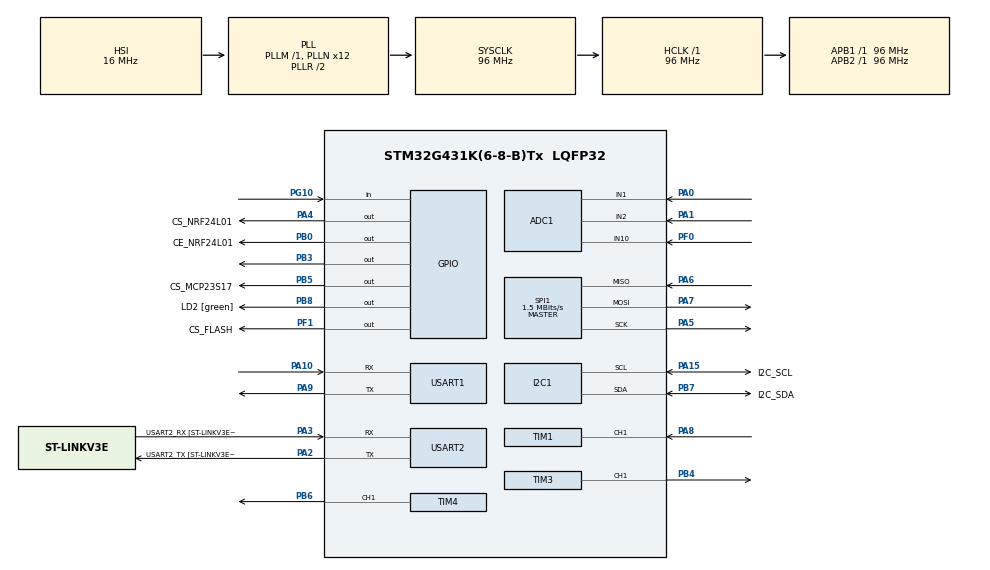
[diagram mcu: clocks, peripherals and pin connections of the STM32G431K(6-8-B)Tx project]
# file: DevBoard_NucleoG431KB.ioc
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ADC1.Channel-0\#ChannelRegularConversion=ADC_CHANNEL_1
ADC1.Channel-1\#ChannelRegularConversion=ADC_CHANNEL_2
ADC1.Channel-2\#ChannelRegularConversion=ADC_CHANNEL_10
ADC1.Channel-3\#ChannelRegularConversion=ADC_CHANNEL_TEMPSENSOR_ADC1
ADC1.Channel-4\#ChannelRegularConversion=ADC_CHANNEL_VBAT
ADC1.Channel-5\#ChannelRegularConversion=ADC_CHANNEL_VREFINT
ADC1.ClockPrescaler=ADC_CLOCK_SYNC_PCLK_DIV4
ADC1.ContinuousConvMode=DISABLE
ADC1.DMAContinuousRequests=DISABLE
ADC1.EOCSelection=ADC_EOC_SEQ_CONV
ADC1.ExternalTrigConv=ADC_SOFTWARE_START
ADC1.NbrOfConversion=6
ADC1.NbrOfConversionFlag=1
ADC1.OffsetNumber-0\#ChannelRegularConversion=ADC_OFFSET_NONE
ADC1.OffsetNumber-1\#ChannelRegularConversion=ADC_OFFSET_NONE
ADC1.OffsetNumber-2\#ChannelRegularConversion=ADC_OFFSET_NONE
ADC1.OffsetNumber-3\#ChannelRegularConversion=ADC_OFFSET_NONE
ADC1.OffsetNumber-4\#ChannelRegularConversion=ADC_OFFSET_NONE
ADC1.OffsetNumber-5\#ChannelRegularConversion=ADC_OFFSET_NONE
ADC1.Overrun=ADC_OVR_DATA_OVERWRITTEN
ADC1.Rank-0\#ChannelRegularConversion=1
ADC1.Rank-1\#ChannelRegularConversion=2
ADC1.Rank-2\#ChannelRegularConversion=3
ADC1.Rank-3\#ChannelRegularConversion=4
ADC1.Rank-4\#ChannelRegularConversion=5
ADC1.Rank-5\#ChannelRegularConversion=6
ADC1.SamplingTime-0\#ChannelRegularConversion=ADC_SAMPLETIME_12CYCLES_5
ADC1.SamplingTime-1\#ChannelRegularConversion=ADC_SAMPLETIME_12CYCLES_5
ADC1.SamplingTime-2\#ChannelRegularConversion=ADC_SAMPLETIME_12CYCLES_5
ADC1.SamplingTime-3\#ChannelRegularConversion=ADC_SAMPLETIME_247CYCLES_5
ADC1.SamplingTime-4\#ChannelRegularConversion=ADC_SAMPLETIME_12CYCLES_5
ADC1.SamplingTime-5\#ChannelRegularConversion=ADC_SAMPLETIME_12CYCLES_5
ADC1.master=1
Dma.ADC1.0.Direction=DMA_PERIPH_TO_MEMORY
Dma.ADC1.0.EventEnable=DISABLE
Dma.ADC1.0.Instance=DMA1_Channel1
Dma.ADC1.0.MemDataAlignment=DMA_MDATAALIGN_HALFWORD
Dma.ADC1.0.MemInc=DMA_MINC_ENABLE
Dma.ADC1.0.Mode=DMA_CIRCULAR
Dma.ADC1.0.PeriphDataAlignment=DMA_PDATAALIGN_HALFWORD
Dma.ADC1.0.PeriphInc=DMA_PINC_DISABLE
Dma.ADC1.0.Polarity=HAL_DMAMUX_REQ_GEN_RISING
Dma.ADC1.0.Priority=DMA_PRIORITY_LOW
Dma.ADC1.0.RequestNumber=1
Dma.ADC1.0.SignalID=NONE
Dma.ADC1.0.SyncEnable=DISABLE
Dma.ADC1.0.SyncPolarity=HAL_DMAMUX_SYNC_NO_EVENT
Dma.ADC1.0.SyncRequestNumber=1
Dma.ADC1.0.SyncSignalID=NONE
Dma.Request0=ADC1
Dma.Request1=USART1_RX
Dma.USART1_RX.1.Direction=DMA_PERIPH_TO_MEMORY
Dma.USART1_RX.1.EventEnable=DISABLE
Dma.USART1_RX.1.Instance=DMA1_Channel2
Dma.USART1_RX.1.MemDataAlignment=DMA_MDATAALIGN_BYTE
Dma.USART1_RX.1.MemInc=DMA_MINC_ENABLE
Dma.USART1_RX.1.Mode=DMA_NORMAL
Dma.USART1_RX.1.PeriphDataAlignment=DMA_PDATAALIGN_BYTE
Dma.USART1_RX.1.PeriphInc=DMA_PINC_DISABLE
Dma.USART1_RX.1.Polarity=HAL_DMAMUX_REQ_GEN_RISING
Dma.USART1_RX.1.Priority=DMA_PRIORITY_HIGH
Dma.USART1_RX.1.RequestNumber=1
Dma.USART1_RX.1.SignalID=NONE
Dma.USART1_RX.1.SyncEnable=DISABLE
Dma.USART1_RX.1.SyncPolarity=HAL_DMAMUX_SYNC_NO_EVENT
Dma.USART1_RX.1.SyncRequestNumber=1
Dma.USART1_RX.1.SyncSignalID=NONE
FREERTOS.Events01=eventEspReceive,Static,myEvent01ControlBlock
FREERTOS.INCLUDE_xEventGroupSetBitFromISR=0
FREERTOS.Tasks01=Task100ms,24,128,StartTask100ms,Default,NULL,Static,Task100msBuffer,Task100msControlBlock;Task1sec,24,128,StartTask1sec,Default,NULL,Static,Task1secBuffer,Task1secControlBlock;Task_Esp,8,128,StartTask03,Default,NULL,Static,Task_EspBuffer,Task_EspControlBlock
FREERTOS.configUSE_NEWLIB_REENTRANT=1
I2C1.I2C_Fall_Time=10
I2C1.I2C_Rise_Time=100
I2C1.NoStretchMode=I2C_NOSTRETCH_DISABLE
I2C1.Timing=0x30806682
Mcu.Family=STM32G4
Mcu.Name=STM32G431K(6-8-B)Tx
Mcu.Package=LQFP32
NVIC.DMA1_Channel1_IRQn=true\:5\:0\:false\:false\:true\:true\:false\:true\:true
NVIC.DMA1_Channel2_IRQn=true\:5\:0\:false\:false\:true\:true\:false\:true\:true
NVIC.PriorityGroup=NVIC_PRIORITYGROUP_4
NVIC.TIM6_DAC_IRQn=true\:15\:0\:false\:false\:true\:false\:false\:true\:true
NVIC.TimeBase=TIM6_DAC_IRQn
NVIC.TimeBaseIP=TIM6
NVIC.USART1_IRQn=true\:5\:0\:false\:false\:true\:true\:true\:true\:true
PA0.Mode=IN1-Single-Ended
PA0.Signal=ADC1_IN1
PA1.Mode=IN2-Single-Ended
PA1.Signal=ADC1_IN2
PA10.Mode=Asynchronous
PA10.Signal=USART1_RX
PA13.GPIO_Label=T_SWDIO
PA13.Mode=Serial_Wire
PA13.Signal=SYS_JTMS-SWDIO
PA14.GPIO_Label=T_SWCLK
PA14.Mode=Serial_Wire
PA14.Signal=SYS_JTCK-SWCLK
PA15.GPIO_Label=I2C_SCL
PA15.Mode=I2C
PA15.Signal=I2C1_SCL
PA2.GPIO_Label=USART2_TX [ST-LINKV3E_VCP_RX]
PA2.Mode=Asynchronous
PA2.Signal=USART2_TX
PA3.GPIO_Label=USART2_RX [ST-LINKV3E_VCP_TX]
PA3.Mode=Asynchronous
PA3.Signal=USART2_RX
PA4.GPIO_Label=CS_NRF24L01
PA4.PinState=GPIO_PIN_SET
PA4.Signal=GPIO_Output
PA5.Mode=Full_Duplex_Master
PA5.Signal=SPI1_SCK
PA6.Mode=Full_Duplex_Master
PA6.Signal=SPI1_MISO
PA7.Mode=Full_Duplex_Master
PA7.Signal=SPI1_MOSI
PA8.Signal=S_TIM1_CH1
PA9.Mode=Asynchronous
PA9.Signal=USART1_TX
PB0.GPIO_Label=CE_NRF24L01
PB0.PinState=GPIO_PIN_SET
PB0.Signal=GPIO_Output
PB3.Signal=GPIO_Output
PB4.Signal=S_TIM3_CH1
PB5.GPIO_Label=CS_MCP23S17
PB5.PinState=GPIO_PIN_SET
PB5.Signal=GPIO_Output
PB6.Signal=S_TIM4_CH1
PB7.GPIO_Label=I2C_SDA
PB7.Mode=I2C
PB7.Signal=I2C1_SDA
PB8-BOOT0.GPIO_Label=LD2 [green]
PB8-BOOT0.Signal=GPIO_Output
PF0-OSC_IN.Mode=IN10-Single-Ended
PF0-OSC_IN.Signal=ADC1_IN10
PF1-OSC_OUT.GPIO_Label=CS_FLASH
PF1-OSC_OUT.PinState=GPIO_PIN_SET
PF1-OSC_OUT.Signal=GPIO_Output
PG10-NRST.Signal=GPIO_Input
ProjectManager.HeapSize=0x200
ProjectManager.StackSize=0x400
ProjectManager.TargetToolchain=STM32CubeIDE
RCC.ADC12Freq_Value=96000000
RCC.AHBFreq_Value=96000000
RCC.APB1Freq_Value=96000000
RCC.APB1TimFreq_Value=96000000
RCC.APB2Freq_Value=96000000
RCC.APB2TimFreq_Value=96000000
RCC.CortexFreq_Value=96000000
RCC.EXTERNAL_CLOCK_VALUE=12288000
RCC.HCLKFreq_Value=96000000
RCC.HSE_VALUE=8000000
RCC.HSI48_VALUE=48000000
RCC.HSI_VALUE=16000000
RCC.LSE_VALUE=32768
RCC.PLLN=12
RCC.PLLQ=RCC_PLLQ_DIV4
RCC.SYSCLKFreq_VALUE=96000000
RCC.SYSCLKSource=RCC_SYSCLKSOURCE_PLLCLK
RCC.USBFreq_Value=48000000
RCC.VCOOutputFreq_Value=192000000
SH.S_TIM1_CH1.0=TIM1_CH1,Input_Capture1_from_TI1
SH.S_TIM3_CH1.0=TIM3_CH1,PWM Generation1 CH1
SH.S_TIM4_CH1.0=TIM4_CH1,PWM Generation1 CH1
SPI1.BaudRatePrescaler=SPI_BAUDRATEPRESCALER_64
SPI1.CalculateBaudRate=1.5 MBits/s
SPI1.DataSize=SPI_DATASIZE_8BIT
SPI1.Direction=SPI_DIRECTION_2LINES
SPI1.Mode=SPI_MODE_MASTER
SPI1.NSSPMode=SPI_NSS_PULSE_DISABLE
SPI1.VirtualType=VM_MASTER
TIM1.Channel-Input_Capture1_from_TI1=TIM_CHANNEL_1
TIM3.Channel-PWM\ Generation1\ CH1=TIM_CHANNEL_1
TIM3.PeriodNoDither=999
TIM3.Prescaler=96
TIM3.PulseNoDither_1=400
TIM3.TIM_MasterOutputTrigger=TIM_TRGO_UPDATE
TIM4.Channel-PWM\ Generation1\ CH1=TIM_CHANNEL_1
USART1.VirtualMode-Asynchronous=VM_ASYNC
USART2.VirtualMode-Asynchronous=VM_ASYNC
USART2.WordLength=WORDLENGTH_8B
VP_ADC1_TempSens_Input.Mode=IN-TempSens
VP_ADC1_Vbat_Input.Mode=IN-Vbat
VP_ADC1_Vref_Input.Mode=IN-Vrefint
VP_FREERTOS_VS_CMSIS_V2.Mode=CMSIS_V2
VP_SYS_VS_DBSignals.Mode=DisableDeadBatterySignals
VP_SYS_VS_tim6.Mode=TIM6
VP_TIM1_VS_ClockSourceINT.Mode=Internal
VP_TIM2_VS_ClockSourceINT.Mode=Internal
VP_TIM3_VS_ClockSourceINT.Mode=Internal
board=NUCLEO-G431KB

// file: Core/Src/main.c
/* USER CODE BEGIN Header */
/**
  ******************************************************************************
  * @file           : main.c
  * @brief          : Main program body
  ******************************************************************************
  * @attention
  *
  * Copyright (c) 2022 STMicroelectronics.
  * All rights reserved.
  *
  * This software is licensed under terms that can be found in the LICENSE file
  * in the root directory of this software component.
  * If no LICENSE file comes with this software, it is provided AS-IS.
  *
  ******************************************************************************
  */
/* USER CODE END Header */
#include "main.h"
#include "cmsis_os.h"

/* USER CODE BEGIN Includes */
#define USE_SPI_MODULE (1)
#define USE_LCD_MODULE (0)

#include "bme280.h"
#include "mcp23s17.h"
#include "spi_module.h"
#include "nrf24l01.h"
#include "lcd_char.h"
#include "flash.h"
#include "esp8266_at.h"
#include <string.h>
#include "max7219.h"
/* USER CODE END Includes */

typedef StaticTask_t osStaticThreadDef_t;
typedef StaticEventGroup_t osStaticEventGroupDef_t;

/* USER CODE BEGIN PM */
#define ESP_UART_DMA_BUFFER_SIZE 512u
#define ESP_RX_BUFFER_SIZE       2048u

#define ESP_EVENT_FLAG_MASK   0x00000001uL
/* USER CODE END PM */

ADC_HandleTypeDef hadc1;
DMA_HandleTypeDef hdma_adc1;

I2C_HandleTypeDef hi2c1;

SPI_HandleTypeDef hspi1;

TIM_HandleTypeDef htim1;
TIM_HandleTypeDef htim2;
TIM_HandleTypeDef htim3;
TIM_HandleTypeDef htim4;

UART_HandleTypeDef huart1;
UART_HandleTypeDef huart2;
DMA_HandleTypeDef hdma_usart1_rx;

/* Definitions for Task100ms */
osThreadId_t Task100msHandle;
uint32_t Task100msBuffer[ 128 ];
osStaticThreadDef_t Task100msControlBlock;
const osThreadAttr_t Task100ms_attributes = {
  .name = "Task100ms",
  .stack_mem = &Task100msBuffer[0],
  .stack_size = sizeof(Task100msBuffer),
  .cb_mem = &Task100msControlBlock,
  .cb_size = sizeof(Task100msControlBlock),
  .priority = (osPriority_t) osPriorityNormal,
};
/* Definitions for Task1sec */
osThreadId_t Task1secHandle;
uint32_t Task1secBuffer[ 128 ];
osStaticThreadDef_t Task1secControlBlock;
const osThreadAttr_t Task1sec_attributes = {
  .name = "Task1sec",
  .stack_mem = &Task1secBuffer[0],
  .stack_size = sizeof(Task1secBuffer),
  .cb_mem = &Task1secControlBlock,
  .cb_size = sizeof(Task1secControlBlock),
  .priority = (osPriority_t) osPriorityNormal,
};
/* Definitions for Task_Esp */
osThreadId_t Task_EspHandle;
uint32_t Task_EspBuffer[ 128 ];
osStaticThreadDef_t Task_EspControlBlock;
const osThreadAttr_t Task_Esp_attributes = {
  .name = "Task_Esp",
  .stack_mem = &Task_EspBuffer[0],
  .stack_size = sizeof(Task_EspBuffer),
  .cb_mem = &Task_EspControlBlock,
  .cb_size = sizeof(Task_EspControlBlock),
  .priority = (osPriority_t) osPriorityLow,
};
/* Definitions for eventEspReceive */
osEventFlagsId_t eventEspReceiveHandle;
osStaticEventGroupDef_t myEvent01ControlBlock;
const osEventFlagsAttr_t eventEspReceive_attributes = {
  .name = "eventEspReceive",
  .cb_mem = &myEvent01ControlBlock,
  .cb_size = sizeof(myEvent01ControlBlock),
};
/* USER CODE BEGIN PV */
volatile uint16_t ADC_RawData[6u] = {0u};
float ADC_Voltage[6u];

NRF24L01_Handler_t RFHandler =
{
  .ptrHSpi = &hspi1,
  .portCS  = CS_NRF24L01_GPIO_Port,
  .pinCS   = CS_NRF24L01_Pin,
  .portCE  = CE_NRF24L01_GPIO_Port,
  .pinCE   = CE_NRF24L01_Pin
};

FLASH_Handler_t FlashHandler =
{
  .ptrHSpi = &hspi1,
  .portCS  = CS_FLASH_GPIO_Port,
  .pinCS   = CS_FLASH_Pin
};

MAX7219_Handler_t LedDriverHandler =
{
  .ptrHSpi = &hspi1,
};

char EspDmaBuffer[ESP_UART_DMA_BUFFER_SIZE];
char EspRxBuffer[ESP_RX_BUFFER_SIZE];

uint16_t oldPos = 0;
uint16_t newPos = 0;

bool  ESP_ResponseOK = 0u;
bool  ESP_MessageReceived = false;

/* USER CODE END PV */

void SystemClock_Config(void);
static void MX_GPIO_Init(void);
static void MX_DMA_Init(void);
static void MX_I2C1_Init(void);
static void MX_SPI1_Init(void);
static void MX_TIM3_Init(void);
static void MX_ADC1_Init(void);
static void MX_TIM2_Init(void);
static void MX_USART2_UART_Init(void);
static void MX_TIM1_Init(void);
static void MX_TIM4_Init(void);
static void MX_USART1_UART_Init(void);
void StartTask100ms(void *argument);
void StartTask1sec(void *argument);
void StartTask03(void *argument);

/* USER CODE BEGIN PFP */
void HAL_UARTEx_RxEventCallback(UART_HandleTypeDef *huart, uint16_t Size)
{
  ESP_ResponseOK = false;
  if (huart->Instance == USART1)
  {
    /* Check if it is an OK: dont need to copy, just set the acknowledge flag  */
    if( strncmp(EspDmaBuffer, "\r\nOK\r\n", 6) )
    {
      ESP_ResponseOK = true;
    }
    else
    {
      oldPos = newPos;  // Update the last position before copying new data

      /* If the data in large and it is about to exceed the buffer size, we have to route it to the start of the buffer
       * This is to maintain the circular buffer
       * The old data in the main buffer will be overlapped
       */
      if (oldPos+Size > ESP_RX_BUFFER_SIZE)  // If the current position + new data size is greater than the main buffer
      {
        uint16_t datatocopy = ESP_RX_BUFFER_SIZE-oldPos;  // find out how much space is left in the main buffer
        memcpy ((uint8_t *)EspRxBuffer+oldPos, EspDmaBuffer, datatocopy);  // copy data in that remaining space

        oldPos = 0;  // point to the start of the buffer
        memcpy ((uint8_t *)EspRxBuffer, (uint8_t *)EspDmaBuffer+datatocopy, (Size-datatocopy));  // copy the remaining data
        newPos = (Size-datatocopy);  // update the position
      }

      /* if the current position + new data size is less than the main buffer
       * we will simply copy the data into the buffer and update the position
       */
      else
      {
        memcpy ((uint8_t *)EspRxBuffer+oldPos, EspDmaBuffer, Size);
        newPos = Size+oldPos;
      }
    }

    /* start the DMA again */
    HAL_UARTEx_ReceiveToIdle_DMA(&huart1, (uint8_t *) EspDmaBuffer, ESP_UART_DMA_BUFFER_SIZE);
    __HAL_DMA_DISABLE_IT(&hdma_usart1_rx, DMA_IT_HT);

    if( ESP_ResponseOK == false )
    {
      ESP_MessageReceived = true;
      osEventFlagsSet(eventEspReceiveHandle, ESP_EVENT_FLAG_MASK);
    }
  }
}
/* USER CODE END PFP */

int main(void)
{

  /* MCU Configuration--------------------------------------------------------*/

  /* Reset of all peripherals, Initializes the Flash interface and the Systick. */
  HAL_Init();

  /* Configure the system clock */
  SystemClock_Config();

  /* USER CODE BEGIN SysInit */
  MX_DMA_Init();
  /* USER CODE END SysInit */

  /* Initialize all configured peripherals */
  MX_GPIO_Init();
  MX_DMA_Init();
  MX_I2C1_Init();
  MX_SPI1_Init();
  MX_TIM3_Init();
  MX_ADC1_Init();
  MX_TIM2_Init();
  MX_USART2_UART_Init();
  MX_TIM1_Init();
  MX_TIM4_Init();
  MX_USART1_UART_Init();
  /* USER CODE BEGIN 2 */
  HAL_Delay(1u);
  // Start PWM
  HAL_TIM_PWM_Start(&htim3, TIM_CHANNEL_1);
  BME280_Detect();
  BME280_StartMeasurement(Oversampling1, Oversampling1, Oversampling1);
  FLASH_Identification(&FlashHandler);
  NRF24L01_Init(&RFHandler);
#if (USE_SPI_MODULE == 1)
  SPIMODULE_Init(&hspi1, CS_MCP23S17_GPIO_Port, CS_MCP23S17_Pin );
#endif
#if (USE_SPI_LCD == 1)
  // Init LCD
  LcdInit_MSP23S17(LCD_DISP_ON_CURSOR_BLINK, &hspi1, CS_MCP23S17_GPIO_Port, CS_MCP23S17_Pin);
  LcdPuts("Hello_MCP23S17", 0, 0);
#endif
  ESP8266_Init(&huart1, EspRxBuffer);
  HAL_Delay(10u);
  HAL_UARTEx_ReceiveToIdle_DMA(&huart1, EspDmaBuffer, ESP_UART_DMA_BUFFER_SIZE);
  __HAL_DMA_DISABLE_IT(&hdma_usart1_rx, DMA_IT_HT);
  /* USER CODE END 2 */

  /* Init scheduler */
  osKernelInitialize();

  /* Create the thread(s) */
  /* creation of Task100ms */
  Task100msHandle = osThreadNew(StartTask100ms, NULL, &Task100ms_attributes);

  /* creation of Task1sec */
  Task1secHandle = osThreadNew(StartTask1sec, NULL, &Task1sec_attributes);

  /* creation of Task_Esp */
  Task_EspHandle = osThreadNew(StartTask03, NULL, &Task_Esp_attributes);

  /* Create the event(s) */
  /* creation of eventEspReceive */
  eventEspReceiveHandle = osEventFlagsNew(&eventEspReceive_attributes);

  /* Start scheduler */
  osKernelStart();

  /* We should never get here as control is now taken by the scheduler */
  /* Infinite loop */
  while (1)
  {

  }
}

void SystemClock_Config(void)
{
  RCC_OscInitTypeDef RCC_OscInitStruct = {0};
  RCC_ClkInitTypeDef RCC_ClkInitStruct = {0};

  /** Configure the main internal regulator output voltage
  */
  HAL_PWREx_ControlVoltageScaling(PWR_REGULATOR_VOLTAGE_SCALE1);

  /** Initializes the RCC Oscillators according to the specified parameters
  * in the RCC_OscInitTypeDef structure.
  */
  RCC_OscInitStruct.OscillatorType = RCC_OSCILLATORTYPE_HSI;
  RCC_OscInitStruct.HSIState = RCC_HSI_ON;
  RCC_OscInitStruct.HSICalibrationValue = RCC_HSICALIBRATION_DEFAULT;
  RCC_OscInitStruct.PLL.PLLState = RCC_PLL_ON;
  RCC_OscInitStruct.PLL.PLLSource = RCC_PLLSOURCE_HSI;
  RCC_OscInitStruct.PLL.PLLM = RCC_PLLM_DIV1;
  RCC_OscInitStruct.PLL.PLLN = 12;
  RCC_OscInitStruct.PLL.PLLP = RCC_PLLP_DIV2;
  RCC_OscInitStruct.PLL.PLLQ = RCC_PLLQ_DIV4;
  RCC_OscInitStruct.PLL.PLLR = RCC_PLLR_DIV2;
  if (HAL_RCC_OscConfig(&RCC_OscInitStruct) != HAL_OK)
  {
    Error_Handler();
  }

  /** Initializes the CPU, AHB and APB buses clocks
  */
  RCC_ClkInitStruct.ClockType = RCC_CLOCKTYPE_HCLK|RCC_CLOCKTYPE_SYSCLK
                              |RCC_CLOCKTYPE_PCLK1|RCC_CLOCKTYPE_PCLK2;
  RCC_ClkInitStruct.SYSCLKSource = RCC_SYSCLKSOURCE_PLLCLK;
  RCC_ClkInitStruct.AHBCLKDivider = RCC_SYSCLK_DIV1;
  RCC_ClkInitStruct.APB1CLKDivider = RCC_HCLK_DIV1;
  RCC_ClkInitStruct.APB2CLKDivider = RCC_HCLK_DIV1;

  if (HAL_RCC_ClockConfig(&RCC_ClkInitStruct, FLASH_LATENCY_3) != HAL_OK)
  {
    Error_Handler();
  }
}

static void MX_ADC1_Init(void)
{

  ADC_MultiModeTypeDef multimode = {0};
  ADC_ChannelConfTypeDef sConfig = {0};

  /** Common config
  */
  hadc1.Instance = ADC1;
  hadc1.Init.ClockPrescaler = ADC_CLOCK_SYNC_PCLK_DIV4;
  hadc1.Init.Resolution = ADC_RESOLUTION_12B;
  hadc1.Init.DataAlign = ADC_DATAALIGN_RIGHT;
  hadc1.Init.GainCompensation = 0;
  hadc1.Init.ScanConvMode = ADC_SCAN_ENABLE;
  hadc1.Init.EOCSelection = ADC_EOC_SEQ_CONV;
  hadc1.Init.LowPowerAutoWait = DISABLE;
  hadc1.Init.ContinuousConvMode = DISABLE;
  hadc1.Init.NbrOfConversion = 6;
  hadc1.Init.DiscontinuousConvMode = DISABLE;
  hadc1.Init.ExternalTrigConv = ADC_SOFTWARE_START;
  hadc1.Init.ExternalTrigConvEdge = ADC_EXTERNALTRIGCONVEDGE_NONE;
  hadc1.Init.DMAContinuousRequests = DISABLE;
  hadc1.Init.Overrun = ADC_OVR_DATA_OVERWRITTEN;
  hadc1.Init.OversamplingMode = DISABLE;
  if (HAL_ADC_Init(&hadc1) != HAL_OK)
  {
    Error_Handler();
  }

  /** Configure the ADC multi-mode
  */
  multimode.Mode = ADC_MODE_INDEPENDENT;
  if (HAL_ADCEx_MultiModeConfigChannel(&hadc1, &multimode) != HAL_OK)
  {
    Error_Handler();
  }

  /** Configure Regular Channel
  */
  sConfig.Channel = ADC_CHANNEL_1;
  sConfig.Rank = ADC_REGULAR_RANK_1;
  sConfig.SamplingTime = ADC_SAMPLETIME_12CYCLES_5;
  sConfig.SingleDiff = ADC_SINGLE_ENDED;
  sConfig.OffsetNumber = ADC_OFFSET_NONE;
  sConfig.Offset = 0;
  if (HAL_ADC_ConfigChannel(&hadc1, &sConfig) != HAL_OK)
  {
    Error_Handler();
  }

  /** Configure Regular Channel
  */
  sConfig.Channel = ADC_CHANNEL_2;
  sConfig.Rank = ADC_REGULAR_RANK_2;
  if (HAL_ADC_ConfigChannel(&hadc1, &sConfig) != HAL_OK)
  {
    Error_Handler();
  }

  /** Configure Regular Channel
  */
  sConfig.Channel = ADC_CHANNEL_10;
  sConfig.Rank = ADC_REGULAR_RANK_3;
  if (HAL_ADC_ConfigChannel(&hadc1, &sConfig) != HAL_OK)
  {
    Error_Handler();
  }

  /** Configure Regular Channel
  */
  sConfig.Channel = ADC_CHANNEL_TEMPSENSOR_ADC1;
  sConfig.Rank = ADC_REGULAR_RANK_4;
  sConfig.SamplingTime = ADC_SAMPLETIME_247CYCLES_5;
  if (HAL_ADC_ConfigChannel(&hadc1, &sConfig) != HAL_OK)
  {
    Error_Handler();
  }

  /** Configure Regular Channel
  */
  sConfig.Channel = ADC_CHANNEL_VBAT;
  sConfig.Rank = ADC_REGULAR_RANK_5;
  sConfig.SamplingTime = ADC_SAMPLETIME_12CYCLES_5;
  if (HAL_ADC_ConfigChannel(&hadc1, &sConfig) != HAL_OK)
  {
    Error_Handler();
  }

  /** Configure Regular Channel
  */
  sConfig.Channel = ADC_CHANNEL_VREFINT;
  sConfig.Rank = ADC_REGULAR_RANK_6;
  if (HAL_ADC_ConfigChannel(&hadc1, &sConfig) != HAL_OK)
  {
    Error_Handler();
  }

}

static void MX_I2C1_Init(void)
{

  hi2c1.Instance = I2C1;
  hi2c1.Init.Timing = 0x30806682;
  hi2c1.Init.OwnAddress1 = 0;
  hi2c1.Init.AddressingMode = I2C_ADDRESSINGMODE_7BIT;
  hi2c1.Init.DualAddressMode = I2C_DUALADDRESS_DISABLE;
  hi2c1.Init.OwnAddress2 = 0;
  hi2c1.Init.OwnAddress2Masks = I2C_OA2_NOMASK;
  hi2c1.Init.GeneralCallMode = I2C_GENERALCALL_DISABLE;
  hi2c1.Init.NoStretchMode = I2C_NOSTRETCH_DISABLE;
  if (HAL_I2C_Init(&hi2c1) != HAL_OK)
  {
    Error_Handler();
  }

  /** Configure Analogue filter
  */
  if (HAL_I2CEx_ConfigAnalogFilter(&hi2c1, I2C_ANALOGFILTER_ENABLE) != HAL_OK)
  {
    Error_Handler();
  }

  /** Configure Digital filter
  */
  if (HAL_I2CEx_ConfigDigitalFilter(&hi2c1, 0) != HAL_OK)
  {
    Error_Handler();
  }

}

static void MX_SPI1_Init(void)
{

  /* SPI1 parameter configuration*/
  hspi1.Instance = SPI1;
  hspi1.Init.Mode = SPI_MODE_MASTER;
  hspi1.Init.Direction = SPI_DIRECTION_2LINES;
  hspi1.Init.DataSize = SPI_DATASIZE_8BIT;
  hspi1.Init.CLKPolarity = SPI_POLARITY_LOW;
  hspi1.Init.CLKPhase = SPI_PHASE_1EDGE;
  hspi1.Init.NSS = SPI_NSS_SOFT;
  hspi1.Init.BaudRatePrescaler = SPI_BAUDRATEPRESCALER_64;
  hspi1.Init.FirstBit = SPI_FIRSTBIT_MSB;
  hspi1.Init.TIMode = SPI_TIMODE_DISABLE;
  hspi1.Init.CRCCalculation = SPI_CRCCALCULATION_DISABLE;
  hspi1.Init.CRCPolynomial = 7;
  hspi1.Init.CRCLength = SPI_CRC_LENGTH_DATASIZE;
  hspi1.Init.NSSPMode = SPI_NSS_PULSE_DISABLE;
  if (HAL_SPI_Init(&hspi1) != HAL_OK)
  {
    Error_Handler();
  }

}

static void MX_TIM1_Init(void)
{

  TIM_ClockConfigTypeDef sClockSourceConfig = {0};
  TIM_MasterConfigTypeDef sMasterConfig = {0};
  TIM_IC_InitTypeDef sConfigIC = {0};

  htim1.Instance = TIM1;
  htim1.Init.Prescaler = 0;
  htim1.Init.CounterMode = TIM_COUNTERMODE_UP;
  htim1.Init.Period = 65535;
  htim1.Init.ClockDivision = TIM_CLOCKDIVISION_DIV1;
  htim1.Init.RepetitionCounter = 0;
  htim1.Init.AutoReloadPreload = TIM_AUTORELOAD_PRELOAD_DISABLE;
  if (HAL_TIM_Base_Init(&htim1) != HAL_OK)
  {
    Error_Handler();
  }
  sClockSourceConfig.ClockSource = TIM_CLOCKSOURCE_INTERNAL;
  if (HAL_TIM_ConfigClockSource(&htim1, &sClockSourceConfig) != HAL_OK)
  {
    Error_Handler();
  }
  if (HAL_TIM_IC_Init(&htim1) != HAL_OK)
  {
    Error_Handler();
  }
  sMasterConfig.MasterOutputTrigger = TIM_TRGO_RESET;
  sMasterConfig.MasterOutputTrigger2 = TIM_TRGO2_RESET;
  sMasterConfig.MasterSlaveMode = TIM_MASTERSLAVEMODE_DISABLE;
  if (HAL_TIMEx_MasterConfigSynchronization(&htim1, &sMasterConfig) != HAL_OK)
  {
    Error_Handler();
  }
  sConfigIC.ICPolarity = TIM_INPUTCHANNELPOLARITY_RISING;
  sConfigIC.ICSelection = TIM_ICSELECTION_DIRECTTI;
  sConfigIC.ICPrescaler = TIM_ICPSC_DIV1;
  sConfigIC.ICFilter = 0;
  if (HAL_TIM_IC_ConfigChannel(&htim1, &sConfigIC, TIM_CHANNEL_1) != HAL_OK)
  {
    Error_Handler();
  }

}

static void MX_TIM2_Init(void)
{

  TIM_ClockConfigTypeDef sClockSourceConfig = {0};
  TIM_MasterConfigTypeDef sMasterConfig = {0};

  htim2.Instance = TIM2;
  htim2.Init.Prescaler = 0;
  htim2.Init.CounterMode = TIM_COUNTERMODE_UP;
  htim2.Init.Period = 4.294967295E9;
  htim2.Init.ClockDivision = TIM_CLOCKDIVISION_DIV1;
  htim2.Init.AutoReloadPreload = TIM_AUTORELOAD_PRELOAD_DISABLE;
  if (HAL_TIM_Base_Init(&htim2) != HAL_OK)
  {
    Error_Handler();
  }
  sClockSourceConfig.ClockSource = TIM_CLOCKSOURCE_INTERNAL;
  if (HAL_TIM_ConfigClockSource(&htim2, &sClockSourceConfig) != HAL_OK)
  {
    Error_Handler();
  }
  sMasterConfig.MasterOutputTrigger = TIM_TRGO_RESET;
  sMasterConfig.MasterSlaveMode = TIM_MASTERSLAVEMODE_DISABLE;
  if (HAL_TIMEx_MasterConfigSynchronization(&htim2, &sMasterConfig) != HAL_OK)
  {
    Error_Handler();
  }

}

static void MX_TIM3_Init(void)
{

  TIM_ClockConfigTypeDef sClockSourceConfig = {0};
  TIM_MasterConfigTypeDef sMasterConfig = {0};
  TIM_OC_InitTypeDef sConfigOC = {0};

  htim3.Instance = TIM3;
  htim3.Init.Prescaler = 96;
  htim3.Init.CounterMode = TIM_COUNTERMODE_UP;
  htim3.Init.Period = 999;
  htim3.Init.ClockDivision = TIM_CLOCKDIVISION_DIV1;
  htim3.Init.AutoReloadPreload = TIM_AUTORELOAD_PRELOAD_DISABLE;
  if (HAL_TIM_Base_Init(&htim3) != HAL_OK)
  {
    Error_Handler();
  }
  sClockSourceConfig.ClockSource = TIM_CLOCKSOURCE_INTERNAL;
  if (HAL_TIM_ConfigClockSource(&htim3, &sClockSourceConfig) != HAL_OK)
  {
    Error_Handler();
  }
  if (HAL_TIM_PWM_Init(&htim3) != HAL_OK)
  {
    Error_Handler();
  }
  sMasterConfig.MasterOutputTrigger = TIM_TRGO_UPDATE;
  sMasterConfig.MasterSlaveMode = TIM_MASTERSLAVEMODE_DISABLE;
  if (HAL_TIMEx_MasterConfigSynchronization(&htim3, &sMasterConfig) != HAL_OK)
  {
    Error_Handler();
  }
  sConfigOC.OCMode = TIM_OCMODE_PWM1;
  sConfigOC.Pulse = 400;
  sConfigOC.OCPolarity = TIM_OCPOLARITY_HIGH;
  sConfigOC.OCFastMode = TIM_OCFAST_DISABLE;
  if (HAL_TIM_PWM_ConfigChannel(&htim3, &sConfigOC, TIM_CHANNEL_1) != HAL_OK)
  {
    Error_Handler();
  }
  HAL_TIM_MspPostInit(&htim3);

}

static void MX_TIM4_Init(void)
{

  TIM_MasterConfigTypeDef sMasterConfig = {0};
  TIM_OC_InitTypeDef sConfigOC = {0};

  htim4.Instance = TIM4;
  htim4.Init.Prescaler = 0;
  htim4.Init.CounterMode = TIM_COUNTERMODE_UP;
  htim4.Init.Period = 65535;
  htim4.Init.ClockDivision = TIM_CLOCKDIVISION_DIV1;
  htim4.Init.AutoReloadPreload = TIM_AUTORELOAD_PRELOAD_DISABLE;
  if (HAL_TIM_PWM_Init(&htim4) != HAL_OK)
  {
    Error_Handler();
  }
  sMasterConfig.MasterOutputTrigger = TIM_TRGO_RESET;
  sMasterConfig.MasterSlaveMode = TIM_MASTERSLAVEMODE_DISABLE;
  if (HAL_TIMEx_MasterConfigSynchronization(&htim4, &sMasterConfig) != HAL_OK)
  {
    Error_Handler();
  }
  sConfigOC.OCMode = TIM_OCMODE_PWM1;
  sConfigOC.Pulse = 0;
  sConfigOC.OCPolarity = TIM_OCPOLARITY_HIGH;
  sConfigOC.OCFastMode = TIM_OCFAST_DISABLE;
  if (HAL_TIM_PWM_ConfigChannel(&htim4, &sConfigOC, TIM_CHANNEL_1) != HAL_OK)
  {
    Error_Handler();
  }
  HAL_TIM_MspPostInit(&htim4);

}

static void MX_USART1_UART_Init(void)
{

  huart1.Instance = USART1;
  huart1.Init.BaudRate = 115200;
  huart1.Init.WordLength = UART_WORDLENGTH_8B;
  huart1.Init.StopBits = UART_STOPBITS_1;
  huart1.Init.Parity = UART_PARITY_NONE;
  huart1.Init.Mode = UART_MODE_TX_RX;
  huart1.Init.HwFlowCtl = UART_HWCONTROL_NONE;
  huart1.Init.OverSampling = UART_OVERSAMPLING_16;
  huart1.Init.OneBitSampling = UART_ONE_BIT_SAMPLE_DISABLE;
  huart1.Init.ClockPrescaler = UART_PRESCALER_DIV1;
  huart1.AdvancedInit.AdvFeatureInit = UART_ADVFEATURE_NO_INIT;
  if (HAL_UART_Init(&huart1) != HAL_OK)
  {
    Error_Handler();
  }
  if (HAL_UARTEx_SetTxFifoThreshold(&huart1, UART_TXFIFO_THRESHOLD_1_8) != HAL_OK)
  {
    Error_Handler();
  }
  if (HAL_UARTEx_SetRxFifoThreshold(&huart1, UART_RXFIFO_THRESHOLD_1_8) != HAL_OK)
  {
    Error_Handler();
  }
  if (HAL_UARTEx_DisableFifoMode(&huart1) != HAL_OK)
  {
    Error_Handler();
  }

}

static void MX_USART2_UART_Init(void)
{

  huart2.Instance = USART2;
  huart2.Init.BaudRate = 115200;
  huart2.Init.WordLength = UART_WORDLENGTH_8B;
  huart2.Init.StopBits = UART_STOPBITS_1;
  huart2.Init.Parity = UART_PARITY_NONE;
  huart2.Init.Mode = UART_MODE_TX_RX;
  huart2.Init.HwFlowCtl = UART_HWCONTROL_NONE;
  huart2.Init.OverSampling = UART_OVERSAMPLING_16;
  huart2.Init.OneBitSampling = UART_ONE_BIT_SAMPLE_DISABLE;
  huart2.Init.ClockPrescaler = UART_PRESCALER_DIV1;
  huart2.AdvancedInit.AdvFeatureInit = UART_ADVFEATURE_NO_INIT;
  if (HAL_UART_Init(&huart2) != HAL_OK)
  {
    Error_Handler();
  }
  if (HAL_UARTEx_SetTxFifoThreshold(&huart2, UART_TXFIFO_THRESHOLD_1_8) != HAL_OK)
  {
    Error_Handler();
  }
  if (HAL_UARTEx_SetRxFifoThreshold(&huart2, UART_RXFIFO_THRESHOLD_1_8) != HAL_OK)
  {
    Error_Handler();
  }
  if (HAL_UARTEx_DisableFifoMode(&huart2) != HAL_OK)
  {
    Error_Handler();
  }

}

static void MX_DMA_Init(void)
{

  /* DMA controller clock enable */
  __HAL_RCC_DMAMUX1_CLK_ENABLE();
  __HAL_RCC_DMA1_CLK_ENABLE();

  /* DMA interrupt init */
  /* DMA1_Channel1_IRQn interrupt configuration */
  HAL_NVIC_SetPriority(DMA1_Channel1_IRQn, 5, 0);
  HAL_NVIC_EnableIRQ(DMA1_Channel1_IRQn);
  /* DMA1_Channel2_IRQn interrupt configuration */
  HAL_NVIC_SetPriority(DMA1_Channel2_IRQn, 5, 0);
  HAL_NVIC_EnableIRQ(DMA1_Channel2_IRQn);

}

static void MX_GPIO_Init(void)
{
  GPIO_InitTypeDef GPIO_InitStruct = {0};

  /* GPIO Ports Clock Enable */
  __HAL_RCC_GPIOF_CLK_ENABLE();
  __HAL_RCC_GPIOG_CLK_ENABLE();
  __HAL_RCC_GPIOA_CLK_ENABLE();
  __HAL_RCC_GPIOB_CLK_ENABLE();

  /*Configure GPIO pin Output Level */
  HAL_GPIO_WritePin(CS_FLASH_GPIO_Port, CS_FLASH_Pin, GPIO_PIN_SET);

  /*Configure GPIO pin Output Level */
  HAL_GPIO_WritePin(CS_NRF24L01_GPIO_Port, CS_NRF24L01_Pin, GPIO_PIN_SET);

  /*Configure GPIO pin Output Level */
  HAL_GPIO_WritePin(GPIOB, CE_NRF24L01_Pin|CS_MCP23S17_Pin, GPIO_PIN_SET);

  /*Configure GPIO pin Output Level */
  HAL_GPIO_WritePin(GPIOB, GPIO_PIN_3|LD2_Pin, GPIO_PIN_RESET);

  /*Configure GPIO pin : CS_FLASH_Pin */
  GPIO_InitStruct.Pin = CS_FLASH_Pin;
  GPIO_InitStruct.Mode = GPIO_MODE_OUTPUT_PP;
  GPIO_InitStruct.Pull = GPIO_NOPULL;
  GPIO_InitStruct.Speed = GPIO_SPEED_FREQ_LOW;
  HAL_GPIO_Init(CS_FLASH_GPIO_Port, &GPIO_InitStruct);

  /*Configure GPIO pin : PG10 */
  GPIO_InitStruct.Pin = GPIO_PIN_10;
  GPIO_InitStruct.Mode = GPIO_MODE_INPUT;
  GPIO_InitStruct.Pull = GPIO_NOPULL;
  HAL_GPIO_Init(GPIOG, &GPIO_InitStruct);

  /*Configure GPIO pin : CS_NRF24L01_Pin */
  GPIO_InitStruct.Pin = CS_NRF24L01_Pin;
  GPIO_InitStruct.Mode = GPIO_MODE_OUTPUT_PP;
  GPIO_InitStruct.Pull = GPIO_NOPULL;
  GPIO_InitStruct.Speed = GPIO_SPEED_FREQ_LOW;
  HAL_GPIO_Init(CS_NRF24L01_GPIO_Port, &GPIO_InitStruct);

  /*Configure GPIO pins : CE_NRF24L01_Pin PB3 CS_MCP23S17_Pin LD2_Pin */
  GPIO_InitStruct.Pin = CE_NRF24L01_Pin|GPIO_PIN_3|CS_MCP23S17_Pin|LD2_Pin;
  GPIO_InitStruct.Mode = GPIO_MODE_OUTPUT_PP;
  GPIO_InitStruct.Pull = GPIO_NOPULL;
  GPIO_InitStruct.Speed = GPIO_SPEED_FREQ_LOW;
  HAL_GPIO_Init(GPIOB, &GPIO_InitStruct);

}

/* USER CODE BEGIN 4 */
uint8_t LedCtr = 0u;
/* USER CODE END 4 */

void StartTask100ms(void *argument)
{
  /* USER CODE BEGIN 5 */
  /* Infinite loop */
  for(;;)
  {
    // Convert ADC raw data from last running
    for( uint16_t i = 0u; i < 6u; i++ )
    {
      ADC_Voltage[i] = (float)ADC_RawData[i] * 3.3f / 4096.0f;
    }
    HAL_ADC_Start_DMA(&hadc1, (uint32_t*)&ADC_RawData[0u], 6u);
    if( LedCtr == 5u )
    {
      HAL_GPIO_TogglePin(LD2_GPIO_Port, LD2_Pin);
      LedCtr = 0u;
    }
    LedCtr++;
    osDelay(100);
  }
  /* USER CODE END 5 */
}

void StartTask1sec(void *argument)
{
  /* USER CODE BEGIN StartTask1sec */
  /* Infinite loop */
  for(;;)
  {
#if 00
    if( DispState == 0u)
    {
      SPIMODULE_ToogleDisplay(DispState);
      DispState = 1u;
    }
    else
    {
      SPIMODULE_ToogleDisplay(DispState);
      DispState = 0u;
    }
#endif
    BME280_ReadMeasResult();
    osDelay(1000);
  }
  /* USER CODE END StartTask1sec */
}

void StartTask03(void *argument)
{
  /* USER CODE BEGIN StartTask03 */
  /* USER CODE BEGIN StartTaskAsync */
  uint32_t eventFlags = 0u;
  /* Infinite loop */
  for(;;)
  {
    eventFlags = osEventFlagsWait(eventEspReceiveHandle, ESP_EVENT_FLAG_MASK, osFlagsWaitAny, osWaitForever);
    if( eventFlags == ESP_EVENT_FLAG_MASK )
    {
      // Process the incoming data that is not OK
      ESP8266_AtReportHandler(EspRxBuffer);
      osEventFlagsClear(eventEspReceiveHandle, ESP_EVENT_FLAG_MASK);
    }
    osDelay(1);
  }
  /* USER CODE END StartTask03 */
}

void HAL_TIM_PeriodElapsedCallback(TIM_HandleTypeDef *htim)
{
  if (htim->Instance == TIM6) {
    HAL_IncTick();
  }
}

void Error_Handler(void)
{
  __disable_irq();
  while (1)
  {
  }
}
